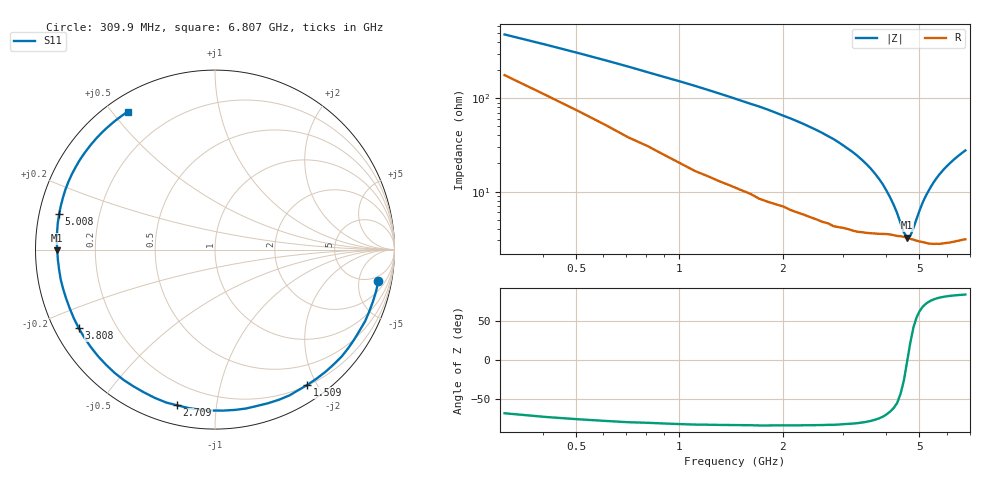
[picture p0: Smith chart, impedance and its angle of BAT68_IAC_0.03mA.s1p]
! Infineon Technologies  Discrete & RF Semiconductors
! BAT68
! IAC = 0.03 mA
! One-Port S-Parameters
# Hz  S  MA  R  50
!f  S11
!Hz  Mag  Ang
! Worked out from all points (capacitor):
!   66 points, 309.9 MHz to 6.807 GHz, reference 50 ohm
!   read as one part to ground: C = 1.08 pF near 309.9 MHz
!   lowest |Z| = 3.22 ohm at 4.608 GHz (marker M1)
!   series resonance near 4.614 GHz, so ESL is about 1.1 nH
!   S11 on the Smith chart (normalised r, x): 309.9 MHz: 3.53, -8.97; 1.509 GHz: 0.21, -1.88; 2.709 GHz: 0.09, -0.78; 3.808 GHz: 0.07, -0.27; 5.008 GHz: 0.06, +0.11; 6.807 GHz: 0.06, +0.55
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3.0985e8  0.9273 -11.0
5.0975e8  0.9263 -18.2
7.0965e8  0.9266 -25.5
1.0095e9  0.9235 -36.5
1.2094e9  0.9201 -44.0
1.50925e9  0.9126 -55.6
1.70915e9  0.9121 -63.0
2.009e9  0.9019 -75.1
2.2089e9  0.9001 -83.0
2.4088e9  0.8968 -91.2
2.6087e9  0.8951 -99.4
2.70865e9  0.8926 -103.7
2.8086e9  0.8943 -107.7
3.0085e9  0.8885 -116.5
3.2084e9  0.8869 -124.9
3.4083e9  0.8833 -133.4
3.6082e9  0.8797 -141.7
3.8081e9  0.8763 -150.0
4.10795e9  0.873 -161.8
4.4078e9  0.8758 -172.7
4.6077e9  0.8791 -179.8
4.8076e9  0.8852 173.7
5.0075e9  0.8907 167.2
5.2074e9  0.8955 160.9
5.6072e9  0.9022 149.4
6.007e9  0.9054 139.3
6.4068e9  0.9072 130.4
6.8066e9  0.9095 122.4
